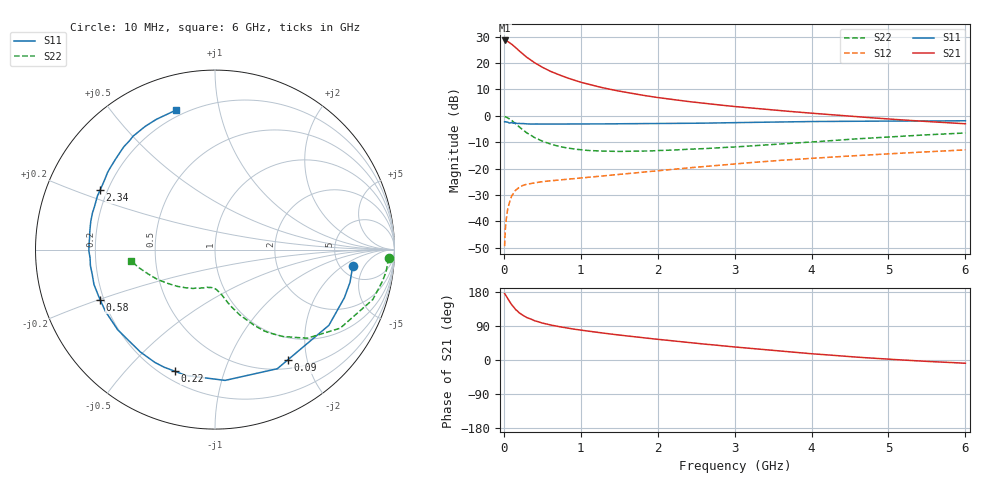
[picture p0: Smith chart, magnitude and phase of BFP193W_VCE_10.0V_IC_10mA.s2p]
! Infineon Technologies  Discrete & RF Semiconductors
! BFP193W
! VCE = 10.0V,  IC =  10 mA
! Common Emitter S-Parameters:  Jan 2016
# GHz  S  MA  R  50
!  f  S11  S21  S12  S22
! GHz  MAG  ANG  MAG  ANG  MAG  ANG  MAG  ANG
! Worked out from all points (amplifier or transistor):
!   210 points, 10 MHz to 6 GHz, reference 50 ohm
!   highest |S21| = 28.5 dB at 10 MHz (marker M1)
!   |S21| within 3 dB of that: start of sweep to 164.8 MHz
!   unconditionally stable (mu >= 1): 1.388 GHz to 4.807 GHz
!   at 185 MHz: K = 0.21, MSG = 26.2 dB, |S12| = -27.4 dB
!   at 1.52 GHz: K = 1.04, MAG = 14.5 dB, |S12| = -22.1 dB
!   at 6 GHz: K = 0.93, MSG = 4.9 dB, |S12| = -12.9 dB
!   S11 on the Smith chart (normalised r, x): 10 MHz: 6.51, -2.87; 90 MHz: 0.62, -1.68; 220 MHz: 0.25, -0.69; 580 MHz: 0.19, -0.20; 2.34 GHz: 0.17, +0.24; 6 GHz: 0.17, +0.74
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0.01  0.7729 -6.6  26.76 175.0  0.0034 81.4  0.9687 -2.8
0.03  0.7691 -20.4  26.53 168.8  0.0105 78.7  0.9495 -10.7
0.05  0.762 -33.6  25.75 161.6  0.017 73.4  0.922 -17.6
0.09  0.7364 -56.7  23.34 149.6  0.0272 62.2  0.8387 -28.9
0.1  0.749 -62.4  22.92 146.2  0.0299 60.6  0.8236 -32.1
0.15  0.7309 -85.6  19.84 133.6  0.0387 50.6  0.713 -43.8
0.2  0.7197 -103.0  16.97 124.4  0.0442 44.3  0.6155 -51.9
0.22  0.7138 -108.2  16.04 121.9  0.0458 42.4  0.5842 -54.3
0.26  0.7123 -118.0  14.31 116.5  0.0488 39.2  0.526 -59.1
0.3  0.706 -126.1  12.79 111.8  0.0507 36.8  0.4739 -62.7
0.4  0.7025 -140.5  10.11 103.6  0.054 33.1  0.3871 -69.4
0.5  0.7009 -150.6  8.32 97.4  0.0566 31.9  0.3317 -73.9
0.58  0.6982 -156.4  7.28 93.7  0.0583 31.6  0.3008 -76.7
0.8  0.6978 -168.6  5.371 85.0  0.0626 32.5  0.2491 -82.4
1.02  0.6985 -176.8  4.253 78.4  0.0669 34.6  0.2259 -87.3
1.4  0.7046 172.4  3.137 68.3  0.0753 37.9  0.2129 -94.3
2.02  0.7149 158.6  2.203 54.2  0.0919 42.3  0.2204 -105.0
2.34  0.7211 152.7  1.914 47.5  0.1015 43.4  0.2306 -111.0
3.1  0.7455 139.3  1.457 32.7  0.1263 43.8  0.2626 -125.6
4.1  0.7807 124.5  1.093 15.1  0.16 41.3  0.3268 -145.3
5.1  0.7962 113.4  0.851 1.0  0.1941 37.2  0.4058 -161.8
6  0.8067 105.8  0.708 -8.6  0.2267 33.2  0.4735 -172.5
